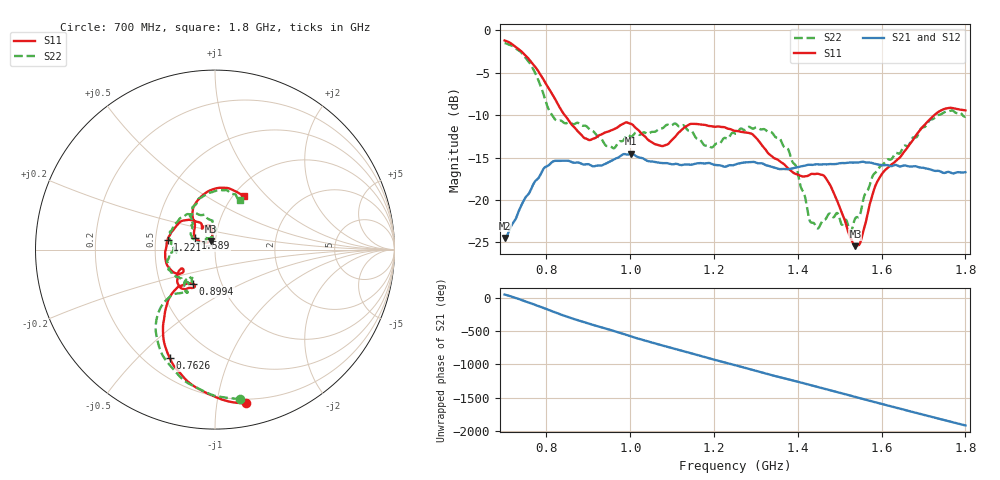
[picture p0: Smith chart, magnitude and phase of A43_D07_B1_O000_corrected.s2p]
! Created with skrf 1.9.0 (http://scikit-rf.org).
# Hz S RI R 50.0
!freq ReS11 ImS11 ReS21 ImS21 ReS12 ImS12 ReS22 ImS22
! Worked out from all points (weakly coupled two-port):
!   1601 points, 700 MHz to 1.8 GHz, reference 50 ohm
!   highest |S21| = -14.54 dB at 1.002 GHz (marker M1); lowest = -24.5 dB at 700 MHz (marker M2)
!   lowest |S11| = -25.4 dB at 1.537 GHz (marker M3), VSWR 1.11, Z = 47.5 + j4.56 ohm
!   |S11| at or under -10 dB: 843.6 MHz to 1.725 GHz (881.7 MHz wide, 68.6 % of centre)
!   |S22| runs from -23.8 to -1.5 dB; largest |S21 - S12| = 0.0035
!   S11 on the Smith chart (normalised r, x): 700 MHz: 0.17, -1.21; 762.6 MHz: 0.29, -0.63; 899.4 MHz: 0.73, -0.29; 1.221 GHz: 0.58, +0.07; 1.589 GHz: 0.80, +0.10; 1.8 GHz: 1.12, +0.75
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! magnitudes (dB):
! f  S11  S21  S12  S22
! 700 MHz  -1.2  -24.5  -24.2  -1.5
! 762.6 MHz  -3.7  -18.8  -18.8  -4.1
! 818.9 MHz  -7.9  -15.4  -15.5  -10.4
! 883.6 MHz  -12.3  -15.7  -15.6  -11.2
! 899.4 MHz  -12.9  -15.8  -15.8  -11.5
! 958.5 MHz  -11.7  -15.3  -15.3  -13.9
! 1.002 GHz  -11.0  -14.5  -14.6  -12.5
! 1.067 GHz  -13.5  -15.6  -15.5  -11.7
! 1.143 GHz  -11.0  -15.8  -15.8  -11.8
! 1.192 GHz  -11.3  -15.7  -15.7  -13.7
! 1.221 GHz  -11.4  -16.0  -16.1  -12.8
! 1.25 GHz  -11.8  -15.8  -15.8  -12.2
! 1.357 GHz  -15.4  -16.3  -16.3  -12.7
! 1.396 GHz  -16.9  -16.2  -16.2  -16.0
! 1.434 GHz  -16.9  -15.9  -15.8  -22.7
! 1.473 GHz  -17.9  -15.8  -15.8  -21.7
! 1.526 GHz  -24.4  -15.6  -15.6  -23.8
! 1.537 GHz  -25.4  -15.6  -15.6  -22.1
! 1.589 GHz  -17.9  -15.8  -15.8  -16.6
! 1.617 GHz  -16.1  -15.9  -15.9  -15.2
! 1.732 GHz  -9.7  -16.6  -16.6  -10.1
! 1.8 GHz  -9.4  -16.7  -16.7  -10.2
